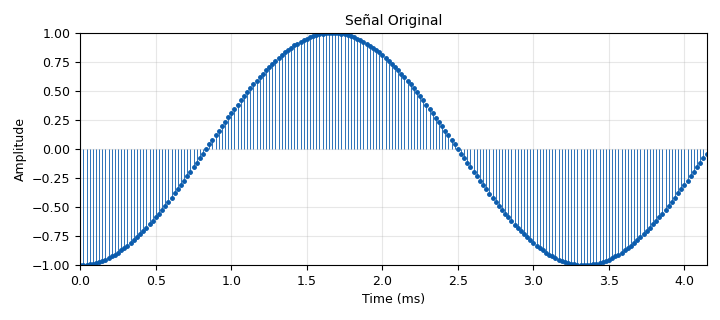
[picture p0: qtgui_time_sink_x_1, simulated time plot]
options:
  parameters:
    generate_options: qt_gui
    id: Ejercicio11a
    output_language: python
    title: Not titled yet
  states: {}

blocks:
- name: samp_rate
  id: variable
  parameters:
    value: '48000'
  states: {}
- name: analog_sig_source_x_0_0
  id: analog_sig_source_x
  parameters:
    amp: '1'
    freq: '300'
    offset: '0'
    phase: '0'
    samp_rate: samp_rate
    type: float
    waveform: analog.GR_SIN_WAVE
  states: {}
- name: audio_sink_0
  id: audio_sink
  parameters:
    samp_rate: samp_rate
  states: {}
- name: blocks_throttle_0_0
  id: blocks_throttle
  parameters:
    samples_per_second: samp_rate
    type: float
  states: {}
- name: qtgui_time_sink_x_1
  id: qtgui_time_sink_x
  parameters:
    ctrlpanel: 'True'
    marker1: '0'
    name: Señal Original
    size: '200'
    srate: samp_rate
    stemplot: 'True'
    type: float
  states: {}

connections:
- [analog_sig_source_x_0_0, '0', blocks_throttle_0_0, '0']
- [blocks_throttle_0_0, '0', audio_sink_0, '0']
- [blocks_throttle_0_0, '0', qtgui_time_sink_x_1, '0']

metadata:
  file_format: 1
  grc_version: 3.10.12.0
